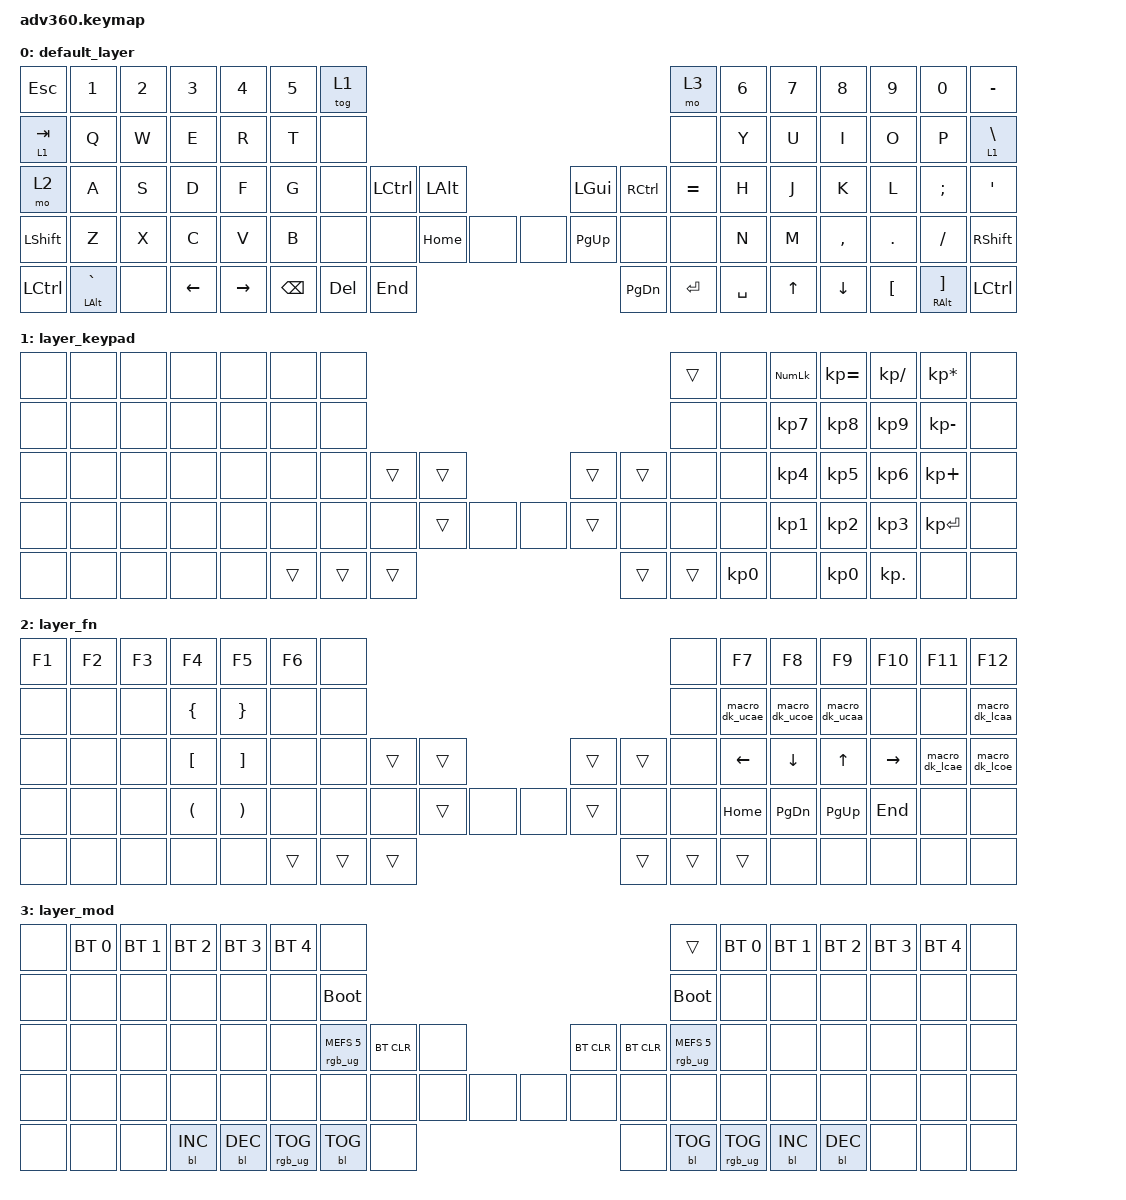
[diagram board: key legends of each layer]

/*
 * Copyright (c) 2020 The ZMK Contributors
 *
 * SPDX-License-Identifier: MIT
 */


/* THIS FILE WAS GENERATED!
 *
 * This file was generated automatically. You may or may not want to
 * edit it directly.
 */

#include <behaviors.dtsi>
#include <dt-bindings/zmk/keys.h>
#include <dt-bindings/zmk/bt.h>
#include <dt-bindings/zmk/rgb.h>
#include <dt-bindings/zmk/backlight.h>

/ {
  behaviors {
    #include "macros.dtsi"

    hm: homerow_mods {
        compatible = "zmk,behavior-hold-tap";
        label = "HOMEROW_MODS";
        #binding-cells = <2>;
        tapping-term-ms = <200>;
        quick_tap_ms = <175>;
        flavor = "tap-preferred";
        bindings = <&kp>, <&kp>;
    };
  };

    keymap {
        compatible = "zmk,keymap";


        default_layer {
            bindings = <
 &kp ESCAPE          &kp N1  &kp N2    &kp N3     &kp N4  &kp N5              &tog 1                                                                 &mo 3  &kp N6  &kp N7     &kp N8    &kp N9         &kp N0        &kp MINUS
  &lt 1 TAB           &kp Q   &kp W     &kp E      &kp R   &kp T               &none                                                                 &none   &kp Y   &kp U      &kp I     &kp O          &kp P  &lt 1 BACKSLASH
      &mo 2           &kp A   &kp S     &kp D      &kp F   &kp G               &none  &kp LCTRL  &kp LALT                   &kp LGUI  &kp RCTRL  &kp EQUAL   &kp H   &kp J      &kp K     &kp L       &kp SEMI          &kp SQT
  &kp LSHFT           &kp Z   &kp X     &kp C      &kp V   &kp B               &none      &none  &kp HOME   &none   &none  &kp PG_UP      &none      &none   &kp N   &kp M  &kp COMMA   &kp DOT       &kp FSLH        &kp RSHFT
  &kp LCTRL  &mt LALT GRAVE   &none  &kp LEFT  &kp RIGHT                    &kp BSPC    &kp DEL   &kp END                  &kp PG_DN  &kp ENTER  &kp SPACE          &kp UP   &kp DOWN  &kp LBKT  &mt RALT RBKT        &kp LCTRL
            >;
        };

        layer_keypad {
            bindings = <
  &none   &none   &none   &none   &none   &none             &none                                                     &trans   &none  &kp KP_NUM     &kp KP_EQUAL  &kp KP_DIVIDE  &kp KP_MULTIPLY   &none
  &none   &none   &none   &none   &none   &none             &none                                                      &none   &none   &kp KP_N7        &kp KP_N8      &kp KP_N9     &kp KP_MINUS   &none
  &none   &none   &none   &none   &none   &none             &none  &trans  &trans                  &trans  &trans      &none   &none   &kp KP_N4        &kp KP_N5      &kp KP_N6      &kp KP_PLUS   &none
  &none   &none   &none   &none   &none   &none             &none   &none  &trans   &none   &none  &trans   &none      &none   &none   &kp KP_N1        &kp KP_N2      &kp KP_N3     &kp KP_ENTER   &none
  &none   &none   &none   &none   &none                    &trans  &trans  &trans                  &trans  &trans  &kp KP_N0               &none  &kp KP_NUMBER_0     &kp KP_DOT            &none   &none
            >;
        };

        layer_fn {
            bindings = <
 &kp F1  &kp F2  &kp F3                &kp F4                 &kp F5  &kp F6             &none                                                   &none          &kp F7          &kp F8          &kp F9          &kp F10         &kp F11         &kp F12
  &none   &none   &none        &kp LEFT_BRACE        &kp RIGHT_BRACE   &none             &none                                                   &none  &macro_dk_ucae  &macro_dk_ucoe  &macro_dk_ucaa            &none           &none  &macro_dk_lcaa
  &none   &none   &none      &kp LEFT_BRACKET      &kp RIGHT_BRACKET   &none             &none  &trans  &trans                  &trans  &trans   &none  &kp LEFT_ARROW  &kp DOWN_ARROW    &kp UP_ARROW  &kp RIGHT_ARROW  &macro_dk_lcae  &macro_dk_lcoe
  &none   &none   &none  &kp LEFT_PARENTHESIS  &kp RIGHT_PARENTHESIS   &none             &none   &none  &trans   &none   &none  &trans   &none   &none        &kp HOME       &kp PG_DN       &kp PG_UP          &kp END           &none           &none
  &none   &none   &none                 &none                  &none                    &trans  &trans  &trans                  &trans  &trans  &trans                           &none           &none            &none           &none           &none
            >;
        };

        layer_mod {
            bindings = <
  &none  &bt BT_SEL 0  &bt BT_SEL 1  &bt BT_SEL 2  &bt BT_SEL 3  &bt BT_SEL 4                             &none                                                                              &trans  &bt BT_SEL 0  &bt BT_SEL 1  &bt BT_SEL 2  &bt BT_SEL 3  &bt BT_SEL 4   &none
  &none         &none         &none         &none         &none         &none                       &bootloader                                                                         &bootloader         &none         &none         &none         &none         &none   &none
  &none         &none         &none         &none         &none         &none            &rgb_ug RGB_MEFS_CMD 5  &bt BT_CLR   &none                  &bt BT_CLR  &bt BT_CLR  &rgb_ug RGB_MEFS_CMD 5         &none         &none         &none         &none         &none   &none
  &none         &none         &none         &none         &none         &none                             &none       &none   &none   &none   &none       &none       &none                   &none         &none         &none         &none         &none         &none   &none
  &none         &none         &none    &bl BL_INC    &bl BL_DEC                                 &rgb_ug RGB_TOG  &bl BL_TOG   &none                       &none  &bl BL_TOG         &rgb_ug RGB_TOG                  &bl BL_INC    &bl BL_DEC         &none         &none   &none
            >;
        };

    };
};
